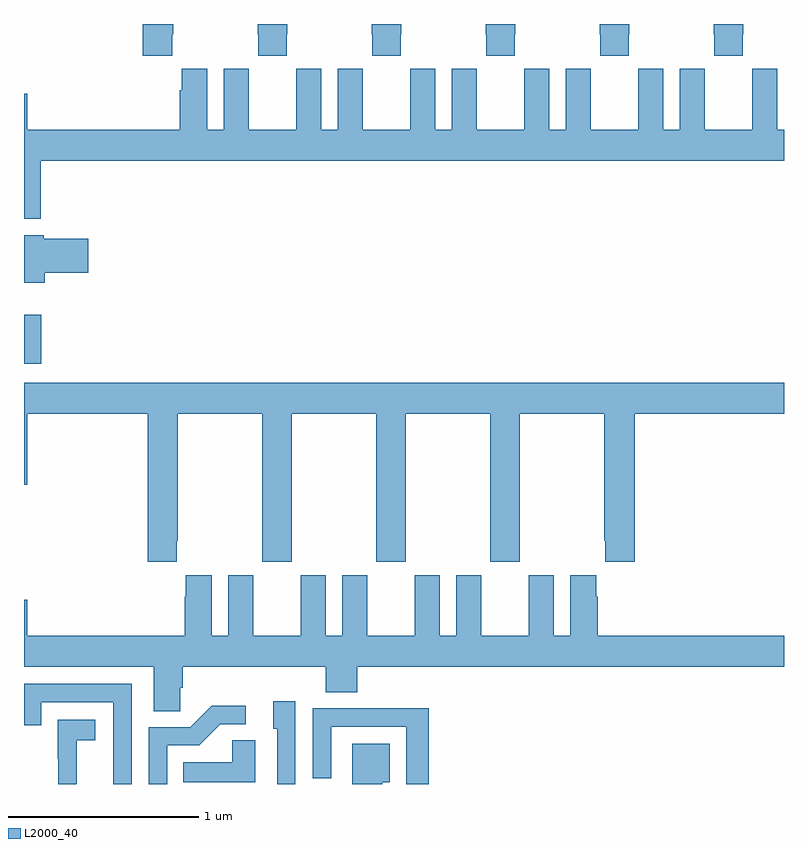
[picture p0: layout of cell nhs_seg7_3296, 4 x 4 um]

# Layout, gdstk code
import gdstk
lib = gdstk.Library(unit=1e-6, precision=1e-09)
def R(c, l, rs):  # rectangles x0, y0, x1, y1
    for r in rs: c.add(gdstk.rectangle(r[:2], r[2:], *l))
def P(c, l, *ps):  # polygons
    for p in ps: c.add(gdstk.Polygon(p, *l))
L2000_40 = (2000, 40)

nhs_seg7_3296 = lib.new_cell('nhs_seg7_3296')
R(nhs_seg7_3296, L2000_40, [(321,1002.212,321.091,1002.469)])
P(nhs_seg7_3296, L2000_40, [(322.383,1003.945),(322.386,1003.945),(322.386,1004),(322.231,1004),(322.231,1003.945),(322.233,1003.945),(322.233,1003.833),(322.383,1003.833)],
  [(322.983,1003.945),(322.986,1003.945),(322.986,1004),(322.831,1004),(322.831,1003.945),(322.833,1003.945),(322.833,1003.833),(322.983,1003.833)],
  [(323.431,1003.945),(323.433,1003.945),(323.433,1003.833),(323.583,1003.833),(323.583,1003.945),(323.586,1003.945),(323.586,1004),(323.431,1004)],
  [(324.783,1003.945),(324.786,1003.945),(324.786,1004),(324.631,1004),(324.631,1003.945),(324.633,1003.945),(324.633,1003.833),(324.783,1003.833)],
  [(324.183,1003.945),(324.186,1003.945),(324.186,1004),(324.031,1004),(324.031,1003.945),(324.033,1003.945),(324.033,1003.833),(324.183,1003.833)],
  [(321.779,1003.945),(321.786,1003.945),(321.786,1004),(321.626,1004),(321.626,1003.833),(321.779,1003.833)],
  [(325,1003.444),(324.964,1003.444),(324.964,1003.765),(324.834,1003.765),(324.834,1003.652),(324.833,1003.652),(324.833,1003.444),(324.583,1003.444),(324.583,1003.652),(324.582,1003.652),(324.582,1003.765),(324.452,1003.765),(324.452,1003.444),(324.364,1003.444),(324.364,1003.765),(324.234,1003.765),(324.234,1003.652),(324.233,1003.652),(324.233,1003.444),(323.983,1003.444),(323.983,1003.652),(323.982,1003.652),(323.982,1003.765),(323.852,1003.765),(323.852,1003.444),(323.764,1003.444),(323.764,1003.765),(323.634,1003.765),(323.634,1003.652),(323.633,1003.652),(323.633,1003.444),(323.383,1003.444),(323.383,1003.652),(323.382,1003.652),(323.382,1003.765),(323.252,1003.765),(323.252,1003.444),(323.164,1003.444),(323.164,1003.765),(323.034,1003.765),(323.034,1003.652),(323.033,1003.652),(323.033,1003.444),(322.783,1003.444),(322.783,1003.652),(322.782,1003.652),(322.782,1003.765),(322.652,1003.765),(322.652,1003.444),(322.564,1003.444),(322.564,1003.765),(322.434,1003.765),(322.434,1003.652),(322.433,1003.652),(322.433,1003.444),(322.183,1003.444),(322.183,1003.652),(322.182,1003.652),(322.182,1003.765),(322.052,1003.765),(322.052,1003.444),(321.964,1003.444),(321.964,1003.765),(321.83,1003.765),(321.83,1003.652),(321.821,1003.652),(321.821,1003.444),(321.016,1003.444),(321.016,1003.633),(321,1003.633),(321,1002.974),(321.089,1002.974),(321.089,1003.28),(325,1003.28)],
  [(321.109,1002.692),(321.337,1002.692),(321.337,1002.87),(321.105,1002.87),(321.105,1002.889),(321,1002.889),(321,1002.638),(321.109,1002.638)],
  [(321.805,1001.281),(321.81,1001.281),(321.81,1001.948),(322.255,1001.948),(322.255,1001.169),(322.41,1001.169),(322.41,1001.948),(322.855,1001.948),(322.855,1001.169),(323.01,1001.169),(323.01,1001.948),(323.455,1001.948),(323.455,1001.169),(323.61,1001.169),(323.61,1001.948),(324.055,1001.948),(324.055,1001.281),(324.059,1001.281),(324.059,1001.169),(324.215,1001.169),(324.215,1001.948),(325,1001.948),(325,1002.112),(321,1002.112),(321,1001.574),(321.016,1001.574),(321.016,1001.948),(321.65,1001.948),(321.65,1001.169),(321.805,1001.169)],
  [(321.822,1000.507),(321.836,1000.507),(321.836,1000.616),(322.589,1000.616),(322.589,1000.483),(322.754,1000.483),(322.754,1000.616),(325,1000.616),(325,1000.78),(324.02,1000.78),(324.02,1000.985),(324.013,1000.985),(324.013,1001.098),(323.876,1001.098),(323.876,1000.78),(323.788,1000.78),(323.788,1001.098),(323.657,1001.098),(323.657,1000.78),(323.407,1000.78),(323.407,1001.098),(323.276,1001.098),(323.276,1000.78),(323.188,1000.78),(323.188,1001.098),(323.057,1001.098),(323.057,1000.78),(322.807,1000.78),(322.807,1001.098),(322.676,1001.098),(322.676,1000.78),(322.588,1000.78),(322.588,1001.098),(322.457,1001.098),(322.457,1000.78),(322.207,1000.78),(322.207,1001.098),(322.076,1001.098),(322.076,1000.78),(321.988,1000.78),(321.988,1001.098),(321.851,1001.098),(321.851,1000.985),(321.845,1000.985),(321.845,1000.78),(321.016,1000.78),(321.016,1000.969),(321,1000.969),(321,1000.616),(321.683,1000.616),(321.683,1000.384),(321.822,1000.384)],
  [(321.567,1000.527),(321,1000.527),(321,1000.308),(321.09,1000.308),(321.09,1000.431),(321.471,1000.431),(321.471,1000),(321.567,1000)],
  [(322.428,1000.435),(322.313,1000.435),(322.313,1000.29),(322.332,1000.29),(322.332,1000),(322.428,1000)],
  [(321.753,1000.203),(321.922,1000.203),(322.033,1000.314),(322.168,1000.314),(322.168,1000.412),(321.989,1000.412),(321.876,1000.299),(321.657,1000.299),(321.657,1000),(321.753,1000)],
  [(323.129,1000.4),(322.837,1000.4),(322.837,1000.398),(322.521,1000.398),(322.521,1000.029),(322.617,1000.029),(322.617,1000.302),(323.013,1000.302),(323.013,1000),(323.129,1000)],
  [(321.276,1000.001),(321.278,1000.001),(321.278,1000.229),(321.376,1000.229),(321.376,1000.339),(321.178,1000.339),(321.178,1000.133),(321.179,1000.133),(321.179,1000),(321.276,1000)],
  [(322.216,1000.229),(322.095,1000.229),(322.095,1000.114),(321.838,1000.114),(321.838,1000.01),(322.216,1000.01)],
  [(322.885,1000.01),(322.924,1000.01),(322.924,1000.213),(322.727,1000.213),(322.727,1000),(322.885,1000)])

lib.write_gds('nhs_seg7_3296.gds')
